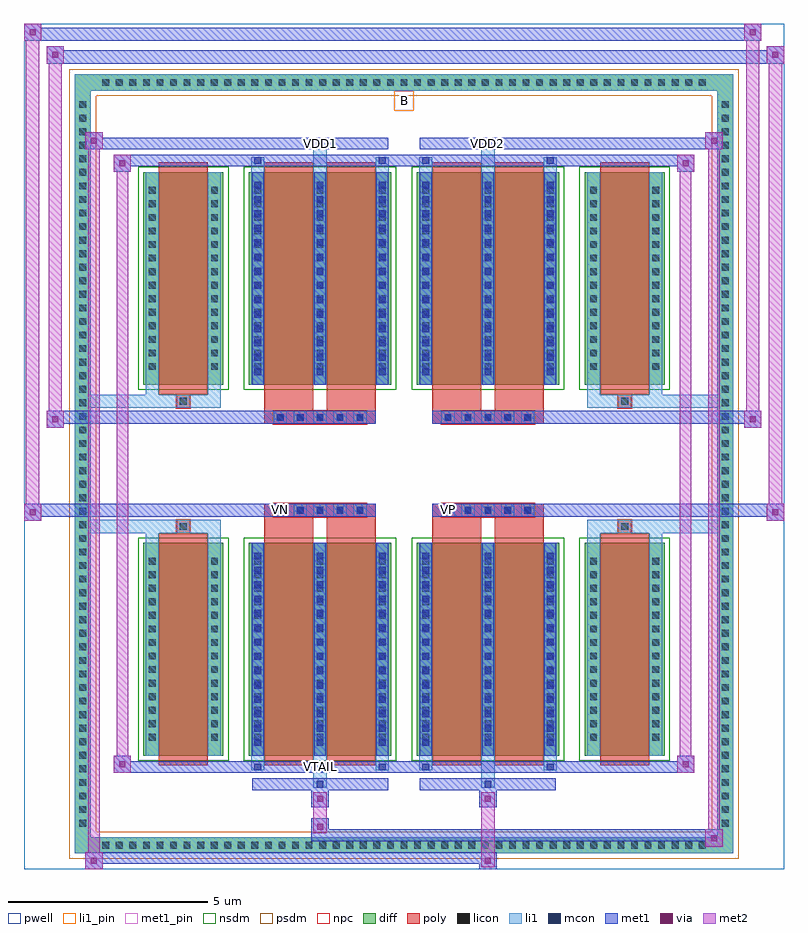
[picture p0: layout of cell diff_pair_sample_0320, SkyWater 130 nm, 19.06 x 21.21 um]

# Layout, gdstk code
import gdstk
lib = gdstk.Library(unit=1e-6, precision=5e-09)
def R(c, l, rs):  # rectangles x0, y0, x1, y1
    for r in rs: c.add(gdstk.rectangle(r[:2], r[2:], *l))
def A(c, l, x, y, w, h, nx, ny, dx, dy):  # array of equal rectangles
    R(c, l, [(x+i*dx, y+j*dy, x+i*dx+w, y+j*dy+h) for i in range(nx) for j in range(ny)])
def P(c, l, *ps):  # polygons
    for p in ps: c.add(gdstk.Polygon(p, *l))
pwell = (64, 44)
diff = (65, 20)
poly = (66, 20)
licon = (66, 44)
li1_pin = (67, 16)
li1 = (67, 20)
mcon = (67, 44)
met1_pin = (68, 16)
met1 = (68, 20)
via = (68, 44)
met2 = (69, 20)
nsdm = (93, 44)
psdm = (94, 20)
npc = (95, 20)

diff_pair_sample_0320 = lib.new_cell('diff_pair_sample_0320')
R(diff_pair_sample_0320, pwell, [(-9.53,-10.17,9.53,11.04), (-6.85,-8.36,-0.01,-0.8), (0.01,-8.36,6.85,-0.8), (-6.85,0.8,-0.01,8.36), (0.01,0.8,6.85,8.36)])
A(diff_pair_sample_0320, diff, -7.685, -9.77, 0.41, 0.41, 45, 2, 0.34, 19.13)
A(diff_pair_sample_0320, diff, -8.26, -9.215, 0.41, 0.41, 1, 54, 0, 0.34)
A(diff_pair_sample_0320, diff, 7.85, -9.215, 0.41, 0.41, 1, 54, 0, 0.34)
R(diff_pair_sample_0320, diff, [(-7.685,-9.77,7.685,-9.36), (-8.26,-9.215,-7.85,9.215), (7.85,-9.215,8.26,9.215), (-6.54,-7.315,-4.53,-1.985), (-3.89,-7.315,-0.32,-1.985), (0.32,-7.315,3.89,-1.985), (4.53,-7.315,6.54,-1.985), (-6.54,1.985,-4.53,7.315), (-3.89,1.985,-0.32,7.315), (0.32,1.985,3.89,7.315), (4.53,1.985,6.54,7.315), (-7.685,9.36,7.685,9.77)])
P(diff_pair_sample_0320, diff, [(8.26,9.77),(-8.26,9.77),(-8.26,-9.36),(-7.85,-9.36),(-7.85,9.36),(7.85,9.36),(7.85,-9.36),(-7.85,-9.36),(-8.26,-9.36),(-8.26,-9.77),(8.26,-9.77)])
A(diff_pair_sample_0320, poly, -3.27, -1.33, 0.33, 0.33, 5, 2, 0.5, 2.33)
A(diff_pair_sample_0320, poly, 0.94, -1.33, 0.33, 0.33, 5, 2, 0.5, 2.33)
R(diff_pair_sample_0320, poly, [(-6.15,-7.565,-4.92,-1.735), (-3.5,-7.565,-2.27,-1.735), (-1.94,-7.565,-0.71,-1.735), (0.71,-7.565,1.94,-1.735), (2.27,-7.565,3.5,-1.735), (4.92,-7.565,6.15,-1.735), (-5.7,-1.735,-5.37,-1.405), (-5.7,-1.735,-5.37,-1.405), (-3.5,-1.735,-2.27,-1.33), (-1.94,-1.735,-0.71,-1.33), (0.71,-1.735,1.94,-1.33), (2.27,-1.735,3.5,-1.33), (5.37,-1.735,5.7,-1.405), (5.37,-1.735,5.7,-1.405), (-3.5,-1.33,-0.71,-1), (0.71,-1.33,3.5,-1), (-3.5,1,-0.71,1.33), (0.71,1,3.5,1.33), (-3.5,1.33,-2.27,1.735), (-1.94,1.33,-0.71,1.735), (0.71,1.33,1.94,1.735), (2.27,1.33,3.5,1.735), (-5.7,1.405,-5.37,1.735), (-5.7,1.405,-5.37,1.735), (5.37,1.405,5.7,1.735), (5.37,1.405,5.7,1.735), (-6.15,1.735,-4.92,7.565), (-3.5,1.735,-2.27,7.565), (-1.94,1.735,-0.71,7.565), (0.71,1.735,1.94,7.565), (2.27,1.735,3.5,7.565), (4.92,1.735,6.15,7.565)])
A(diff_pair_sample_0320, licon, -7.565, -9.65, 0.17, 0.17, 45, 2, 0.34, 19.13)
A(diff_pair_sample_0320, licon, -8.14, -9.095, 0.17, 0.17, 1, 54, 0, 0.34)
A(diff_pair_sample_0320, licon, 7.97, -9.095, 0.17, 0.17, 1, 54, 0, 0.34)
A(diff_pair_sample_0320, licon, -6.4, -6.945, 0.17, 0.17, 1, 14, 0, 0.34)
A(diff_pair_sample_0320, licon, -4.84, -6.945, 0.17, 0.17, 1, 14, 0, 0.34)
A(diff_pair_sample_0320, licon, -3.75, -6.945, 0.17, 0.17, 3, 14, 1.56, 0.34)
A(diff_pair_sample_0320, licon, 0.46, -6.945, 0.17, 0.17, 3, 14, 1.56, 0.34)
A(diff_pair_sample_0320, licon, 4.67, -6.945, 0.17, 0.17, 1, 14, 0, 0.34)
A(diff_pair_sample_0320, licon, 6.23, -6.945, 0.17, 0.17, 1, 14, 0, 0.34)
A(diff_pair_sample_0320, licon, -3.19, -1.25, 0.17, 0.17, 5, 2, 0.5, 2.33)
A(diff_pair_sample_0320, licon, 1.02, -1.25, 0.17, 0.17, 5, 2, 0.5, 2.33)
A(diff_pair_sample_0320, licon, -6.4, 2.355, 0.17, 0.17, 1, 14, 0, 0.34)
A(diff_pair_sample_0320, licon, -4.84, 2.355, 0.17, 0.17, 1, 14, 0, 0.34)
A(diff_pair_sample_0320, licon, -3.75, 2.355, 0.17, 0.17, 3, 14, 1.56, 0.34)
A(diff_pair_sample_0320, licon, 0.46, 2.355, 0.17, 0.17, 3, 14, 1.56, 0.34)
A(diff_pair_sample_0320, licon, 4.67, 2.355, 0.17, 0.17, 1, 14, 0, 0.34)
A(diff_pair_sample_0320, licon, 6.23, 2.355, 0.17, 0.17, 1, 14, 0, 0.34)
R(diff_pair_sample_0320, licon, [(-5.62,-1.655,-5.45,-1.485), (5.45,-1.655,5.62,-1.485), (-5.62,1.485,-5.45,1.655), (5.45,1.485,5.62,1.655)])
R(diff_pair_sample_0320, li1_pin, [(-0.25,8.86,0.25,9.36)])
A(diff_pair_sample_0320, li1, -7.645, -9.73, 0.33, 0.33, 45, 2, 0.34, 19.13)
A(diff_pair_sample_0320, li1, -8.22, -9.175, 0.33, 0.33, 1, 54, 0, 0.34)
A(diff_pair_sample_0320, li1, 7.89, -9.175, 0.33, 0.33, 1, 54, 0, 0.34)
A(diff_pair_sample_0320, li1, -3.83, -7.315, 0.33, 5.33, 3, 2, 1.56, 9.3)
A(diff_pair_sample_0320, li1, 0.38, -7.315, 0.33, 5.33, 3, 2, 1.56, 9.3)
A(diff_pair_sample_0320, li1, -3.75, -7.075, 0.17, 0.17, 3, 14, 1.56, 0.36)
A(diff_pair_sample_0320, li1, -3.75, -7.075, 0.17, 4.85, 3, 2, 1.56, 9.3)
A(diff_pair_sample_0320, li1, 0.46, -7.075, 0.17, 0.17, 3, 14, 1.56, 0.36)
A(diff_pair_sample_0320, li1, 0.46, -7.075, 0.17, 4.85, 3, 2, 1.56, 9.3)
A(diff_pair_sample_0320, li1, -6.48, -7.025, 0.33, 0.33, 1, 14, 0, 0.34)
A(diff_pair_sample_0320, li1, -4.92, -7.025, 0.33, 0.33, 1, 14, 0, 0.34)
A(diff_pair_sample_0320, li1, -3.83, -7.025, 0.33, 0.33, 3, 14, 1.56, 0.34)
A(diff_pair_sample_0320, li1, 0.38, -7.025, 0.33, 0.33, 3, 14, 1.56, 0.34)
A(diff_pair_sample_0320, li1, 4.59, -7.025, 0.33, 0.33, 1, 14, 0, 0.34)
A(diff_pair_sample_0320, li1, 6.15, -7.025, 0.33, 0.33, 1, 14, 0, 0.34)
A(diff_pair_sample_0320, li1, -3.27, -1.33, 0.33, 0.33, 5, 2, 0.5, 2.33)
A(diff_pair_sample_0320, li1, 0.94, -1.33, 0.33, 0.33, 5, 2, 0.5, 2.33)
A(diff_pair_sample_0320, li1, -3.75, 2.225, 0.17, 0.17, 3, 14, 1.56, 0.36)
A(diff_pair_sample_0320, li1, 0.46, 2.225, 0.17, 0.17, 3, 14, 1.56, 0.36)
A(diff_pair_sample_0320, li1, -6.48, 2.275, 0.33, 0.33, 1, 14, 0, 0.34)
A(diff_pair_sample_0320, li1, -4.92, 2.275, 0.33, 0.33, 1, 14, 0, 0.34)
A(diff_pair_sample_0320, li1, -3.83, 2.275, 0.33, 0.33, 3, 14, 1.56, 0.34)
A(diff_pair_sample_0320, li1, 0.38, 2.275, 0.33, 0.33, 3, 14, 1.56, 0.34)
A(diff_pair_sample_0320, li1, 4.59, 2.275, 0.33, 0.33, 1, 14, 0, 0.34)
A(diff_pair_sample_0320, li1, 6.15, 2.275, 0.33, 0.33, 1, 14, 0, 0.34)
R(diff_pair_sample_0320, li1, [(-8.26,-9.77,-7.85,-9.36), (-8.26,-9.77,-7.85,-9.36), (-7.85,-9.77,7.85,-9.36), (7.85,-9.77,8.26,-9.36), (7.85,-9.77,8.26,-9.36), (-8.26,-9.36,-7.85,9.36), (7.85,-9.36,8.26,9.36), (-2.27,-8.12,-1.94,-7.315), (-2.19,-8.12,-2.02,-7.95), (1.94,-8.12,2.27,-7.315), (2.02,-8.12,2.19,-7.95), (-3.83,-7.69,-3.5,-7.315), (-3.75,-7.69,-3.58,-7.52), (-0.71,-7.69,-0.38,-7.315), (-0.63,-7.69,-0.46,-7.52), (0.38,-7.69,0.71,-7.315), (0.46,-7.69,0.63,-7.52), (3.5,-7.69,3.83,-7.315), (3.58,-7.69,3.75,-7.52), (-6.48,-7.315,-6.15,-1.985), (-4.92,-7.315,-4.59,-1.985), (4.59,-7.315,4.92,-1.985), (6.15,-7.315,6.48,-1.985), (-6.48,-1.985,-6.15,-1.405), (-4.92,-1.985,-4.59,-1.405), (4.59,-1.985,4.92,-1.405), (6.15,-1.985,6.48,-1.405), (-8.26,-1.735,-5.7,-1.405), (-6.48,-1.735,-5.7,-1.405), (-5.7,-1.735,-5.37,-1.405), (-5.37,-1.735,-4.59,-1.405), (4.59,-1.735,5.37,-1.405), (5.37,-1.735,5.7,-1.405), (5.37,-1.735,8.26,-1.405), (5.7,-1.735,6.48,-1.405), (-8.26,1.405,-5.7,1.735), (-6.48,1.405,-5.7,1.735), (-6.48,1.405,-6.15,1.985), (-5.7,1.405,-5.37,1.735), (-5.37,1.405,-4.59,1.735), (-4.92,1.405,-4.59,1.985), (4.59,1.405,5.37,1.735), (4.59,1.405,4.92,1.985), (5.37,1.405,5.7,1.735), (5.37,1.405,8.26,1.735), (5.7,1.405,6.48,1.735), (6.15,1.405,6.48,1.985), (-6.48,1.985,-6.15,7.315), (-4.92,1.985,-4.59,7.315), (4.59,1.985,4.92,7.315), (6.15,1.985,6.48,7.315), (-3.83,7.315,-3.5,7.69), (-2.27,7.315,-1.94,8.12), (-0.71,7.315,-0.38,7.69), (0.38,7.315,0.71,7.69), (1.94,7.315,2.27,8.12), (3.5,7.315,3.83,7.69), (-3.75,7.52,-3.58,7.69), (-0.63,7.52,-0.46,7.69), (0.46,7.52,0.63,7.69), (3.58,7.52,3.75,7.69), (-2.19,7.95,-2.02,8.12), (2.02,7.95,2.19,8.12), (-8.26,9.36,-7.85,9.77), (-8.26,9.36,-7.85,9.77), (-7.85,9.36,7.85,9.77), (7.85,9.36,8.26,9.77), (7.85,9.36,8.26,9.77)])
A(diff_pair_sample_0320, mcon, -3.75, -7.075, 0.17, 0.17, 3, 14, 1.56, 0.36)
A(diff_pair_sample_0320, mcon, 0.46, -7.075, 0.17, 0.17, 3, 14, 1.56, 0.36)
A(diff_pair_sample_0320, mcon, -3.19, -1.25, 0.17, 0.17, 5, 2, 0.5, 2.33)
A(diff_pair_sample_0320, mcon, 1.02, -1.25, 0.17, 0.17, 5, 2, 0.5, 2.33)
A(diff_pair_sample_0320, mcon, -3.75, 2.225, 0.17, 0.17, 3, 14, 1.56, 0.36)
A(diff_pair_sample_0320, mcon, 0.46, 2.225, 0.17, 0.17, 3, 14, 1.56, 0.36)
R(diff_pair_sample_0320, mcon, [(-2.19,-8.12,-2.02,-7.95), (2.02,-8.12,2.19,-7.95), (-3.75,-7.69,-3.58,-7.52), (-0.63,-7.69,-0.46,-7.52), (0.46,-7.69,0.63,-7.52), (3.58,-7.69,3.75,-7.52), (-3.75,7.52,-3.58,7.69), (-0.63,7.52,-0.46,7.69), (0.46,7.52,0.63,7.69), (3.58,7.52,3.75,7.69), (-2.19,7.95,-2.02,8.12), (2.02,7.95,2.19,8.12)])
R(diff_pair_sample_0320, met1_pin, [(-2.24,-7.73,-1.97,-7.46), (-3.24,-1.29,-2.97,-1.02), (0.97,-1.29,1.24,-1.02), (-2.24,7.91,-1.97,8.18), (1.97,7.91,2.24,8.18)])
A(diff_pair_sample_0320, met1, -3.81, -7.315, 0.29, 5.33, 3, 2, 1.56, 9.3)
A(diff_pair_sample_0320, met1, 0.4, -7.315, 0.29, 5.33, 3, 2, 1.56, 9.3)
A(diff_pair_sample_0320, met1, -3.81, -7.135, 0.29, 0.29, 3, 14, 1.56, 0.36)
A(diff_pair_sample_0320, met1, 0.4, -7.135, 0.29, 0.29, 3, 14, 1.56, 0.36)
A(diff_pair_sample_0320, met1, -3.25, -1.31, 0.29, 0.29, 5, 2, 0.5, 2.33)
A(diff_pair_sample_0320, met1, 0.96, -1.31, 0.29, 0.29, 5, 2, 0.5, 2.33)
A(diff_pair_sample_0320, met1, -3.81, 2.165, 0.29, 0.29, 3, 14, 1.56, 0.36)
A(diff_pair_sample_0320, met1, 0.4, 2.165, 0.29, 0.29, 3, 14, 1.56, 0.36)
R(diff_pair_sample_0320, met1, [(-7.99,-10.17,-7.56,-9.74), (1.89,-10.17,2.32,-9.74), (-7.99,-10.03,2.32,-9.74), (7.56,-9.6,7.99,-9.17), (-2.32,-9.46,7.99,-9.17), (-2.32,-9.32,-1.89,-8.89), (-2.32,-8.61,-1.89,-8.18), (1.89,-8.61,2.32,-8.18), (-3.81,-8.18,-0.4,-7.89), (-2.25,-8.18,-1.96,-7.89), (0.4,-8.18,3.81,-7.89), (1.96,-8.18,2.25,-7.89), (-7.28,-7.75,-6.85,-7.32), (-7.28,-7.75,-3.81,-7.46), (-3.81,-7.75,-3.52,-7.46), (-3.81,-7.75,-0.4,-7.46), (-0.69,-7.75,-0.4,-7.46), (-0.4,-7.75,0.4,-7.46), (0.4,-7.75,0.69,-7.46), (0.4,-7.75,3.81,-7.46), (3.52,-7.75,3.81,-7.46), (3.81,-7.75,7.28,-7.46), (6.85,-7.75,7.28,-7.32), (-9.53,-1.43,-9.1,-1), (9.1,-1.43,9.53,-1), (-9.53,-1.33,-0.71,-1), (-3.5,-1.33,-0.71,-1), (0.71,-1.33,3.5,-1), (0.71,-1.33,9.53,-1), (-8.96,0.9,-8.53,1.33), (8.53,0.9,8.96,1.33), (-8.96,1,-3.5,1.33), (-3.5,1,-0.71,1.33), (0.71,1,3.5,1.33), (3.5,1,8.96,1.33), (-7.28,7.32,-6.85,7.75), (6.85,7.32,7.28,7.75), (-7.28,7.46,-3.81,7.75), (-3.81,7.46,-3.52,7.75), (-3.81,7.46,-0.4,7.75), (-0.69,7.46,-0.4,7.75), (-0.4,7.46,0.4,7.75), (0.4,7.46,0.69,7.75), (0.4,7.46,3.81,7.75), (3.52,7.46,3.81,7.75), (3.81,7.46,7.28,7.75), (-7.99,7.89,-7.56,8.32), (-7.99,7.89,-3.81,8.18), (-3.81,7.89,-0.4,8.18), (-2.25,7.89,-1.96,8.18), (0.4,7.89,3.81,8.18), (1.96,7.89,2.25,8.18), (3.81,7.89,7.99,8.18), (7.56,7.89,7.99,8.32), (-8.96,10.04,-8.53,10.47), (-8.96,10.04,-6.85,10.37), (-6.85,10.04,6.85,10.37), (6.85,10.04,9.53,10.37), (9.1,10.04,9.53,10.47), (-9.53,10.61,-9.1,11.04), (-9.53,10.61,-6.85,10.94), (-6.85,10.61,6.85,10.94), (6.85,10.61,8.96,10.94), (8.53,10.61,8.96,11.04)])
R(diff_pair_sample_0320, via, [(-7.85,-10.03,-7.7,-9.88), (2.03,-10.03,2.18,-9.88), (7.7,-9.46,7.85,-9.31), (-2.18,-9.18,-2.03,-9.03), (-2.18,-8.47,-2.03,-8.32), (2.03,-8.47,2.18,-8.32), (-7.14,-7.61,-6.99,-7.46), (6.99,-7.61,7.14,-7.46), (-9.39,-1.29,-9.24,-1.14), (9.24,-1.29,9.39,-1.14), (-8.82,1.04,-8.67,1.19), (8.67,1.04,8.82,1.19), (-7.14,7.46,-6.99,7.61), (6.99,7.46,7.14,7.61), (-7.85,8.03,-7.7,8.18), (7.7,8.03,7.85,8.18), (-8.82,10.18,-8.67,10.33), (9.24,10.18,9.39,10.33), (-9.39,10.75,-9.24,10.9), (8.67,10.75,8.82,10.9)])
R(diff_pair_sample_0320, met2, [(-7.99,-10.17,-7.56,-9.74), (-7.92,-10.17,-7.63,8.32), (-7.63,-10.17,-7.56,-9.74), (-7.94,-10.12,-7.61,-9.79), (1.94,-10.12,2.27,-9.79), (1.94,-9.79,2.27,-8.56), (7.56,-9.6,7.99,-9.17), (7.63,-9.6,7.92,8.32), (7.92,-9.6,7.99,-9.17), (7.61,-9.55,7.94,-9.22), (-2.27,-9.27,-1.94,-8.94), (-2.27,-8.94,-1.94,-8.56), (-2.27,-8.56,-1.94,-8.23), (1.94,-8.56,2.27,-8.23), (-7.28,-7.75,-6.85,-7.32), (-7.21,-7.75,-6.92,7.75), (-6.92,-7.75,-6.85,-7.32), (6.85,-7.75,7.28,-7.32), (6.92,-7.75,7.21,7.75), (7.21,-7.75,7.28,-7.32), (-7.23,-7.7,-6.9,-7.37), (6.9,-7.7,7.23,-7.37), (-9.53,-1.43,-9.1,-1), (-9.48,-1.43,-9.15,11.04), (-9.15,-1.43,-9.1,-1), (9.1,-1.43,9.53,-1), (9.15,-1.43,9.48,10.47), (9.48,-1.43,9.53,-1), (-9.48,-1.38,-9.15,-1.05), (9.15,-1.38,9.48,-1.05), (-8.96,0.9,-8.53,1.33), (-8.91,0.9,-8.58,10.47), (-8.58,0.9,-8.53,1.33), (8.53,0.9,8.96,1.33), (8.58,0.9,8.91,11.04), (8.91,0.9,8.96,1.33), (-8.91,0.95,-8.58,1.28), (8.58,0.95,8.91,1.28), (-7.28,7.32,-6.85,7.75), (-6.92,7.32,-6.85,7.75), (6.85,7.32,7.28,7.75), (7.21,7.32,7.28,7.75), (-7.23,7.37,-6.9,7.7), (6.9,7.37,7.23,7.7), (-7.99,7.89,-7.56,8.32), (-7.63,7.89,-7.56,8.32), (7.56,7.89,7.99,8.32), (7.92,7.89,7.99,8.32), (-7.94,7.94,-7.61,8.27), (7.61,7.94,7.94,8.27), (-8.96,10.04,-8.53,10.47), (-8.58,10.04,-8.53,10.47), (9.1,10.04,9.53,10.47), (9.48,10.04,9.53,10.47), (-8.91,10.09,-8.58,10.42), (9.15,10.09,9.48,10.42), (-9.53,10.61,-9.1,11.04), (-9.15,10.61,-9.1,11.04), (8.53,10.61,8.96,11.04), (8.91,10.61,8.96,11.04), (-9.48,10.66,-9.15,10.99), (8.58,10.66,8.91,10.99)])
R(diff_pair_sample_0320, nsdm, [(-6.67,-7.445,-4.4,-1.855), (-4.02,-7.445,-0.19,-1.855), (0.19,-7.445,4.02,-1.855), (4.4,-7.445,6.67,-1.855), (-6.67,1.855,-4.4,7.445), (-4.02,1.855,-0.19,7.445), (0.19,1.855,4.02,7.445), (4.4,1.855,6.67,7.445)])
P(diff_pair_sample_0320, psdm, [(8.39,9.9),(-8.39,9.9),(-8.39,-9.23),(-7.72,-9.23),(-7.72,9.23),(7.72,9.23),(7.72,-9.23),(-7.72,-9.23),(-8.39,-9.23),(-8.39,-9.9),(8.39,-9.9)])
A(diff_pair_sample_0320, npc, -3.29, -1.35, 0.37, 0.37, 5, 2, 0.5, 2.33)
A(diff_pair_sample_0320, npc, 0.92, -1.35, 0.37, 0.37, 5, 2, 0.5, 2.33)
R(diff_pair_sample_0320, npc, [(-5.72,-1.755,-5.35,-1.385), (5.35,-1.755,5.72,-1.385), (-3.29,-1.35,-2.42,-0.98), (-3.29,-1.35,-2.42,-0.98), (-2.79,-1.35,-1.92,-0.98), (-2.79,-1.35,-1.92,-0.98), (-2.29,-1.35,-1.42,-0.98), (-2.29,-1.35,-1.42,-0.98), (-1.79,-1.35,-0.92,-0.98), (-1.79,-1.35,-0.92,-0.98), (0.92,-1.35,1.79,-0.98), (0.92,-1.35,1.79,-0.98), (1.42,-1.35,2.29,-0.98), (1.42,-1.35,2.29,-0.98), (1.92,-1.35,2.79,-0.98), (1.92,-1.35,2.79,-0.98), (2.42,-1.35,3.29,-0.98), (2.42,-1.35,3.29,-0.98), (-3.29,0.98,-2.42,1.35), (-3.29,0.98,-2.42,1.35), (-2.79,0.98,-1.92,1.35), (-2.79,0.98,-1.92,1.35), (-2.29,0.98,-1.42,1.35), (-2.29,0.98,-1.42,1.35), (-1.79,0.98,-0.92,1.35), (-1.79,0.98,-0.92,1.35), (0.92,0.98,1.79,1.35), (0.92,0.98,1.79,1.35), (1.42,0.98,2.29,1.35), (1.42,0.98,2.29,1.35), (1.92,0.98,2.79,1.35), (1.92,0.98,2.79,1.35), (2.42,0.98,3.29,1.35), (2.42,0.98,3.29,1.35), (-5.72,1.385,-5.35,1.755), (5.35,1.385,5.72,1.755)])
diff_pair_sample_0320.add(gdstk.Label('VTAIL', (-2.105,-7.595), layer=68, texttype=5))
diff_pair_sample_0320.add(gdstk.Label('VN', (-3.105,-1.155), layer=68, texttype=5))
diff_pair_sample_0320.add(gdstk.Label('VP', (1.105,-1.155), layer=68, texttype=5))
diff_pair_sample_0320.add(gdstk.Label('B', (0,9.11), layer=67, texttype=5))
diff_pair_sample_0320.add(gdstk.Label('VDD2', (2.105,8.045), layer=68, texttype=5))
diff_pair_sample_0320.add(gdstk.Label('VDD1', (-2.105,8.045), layer=68, texttype=5))

lib.write_gds('diff_pair_sample_0320.gds')
